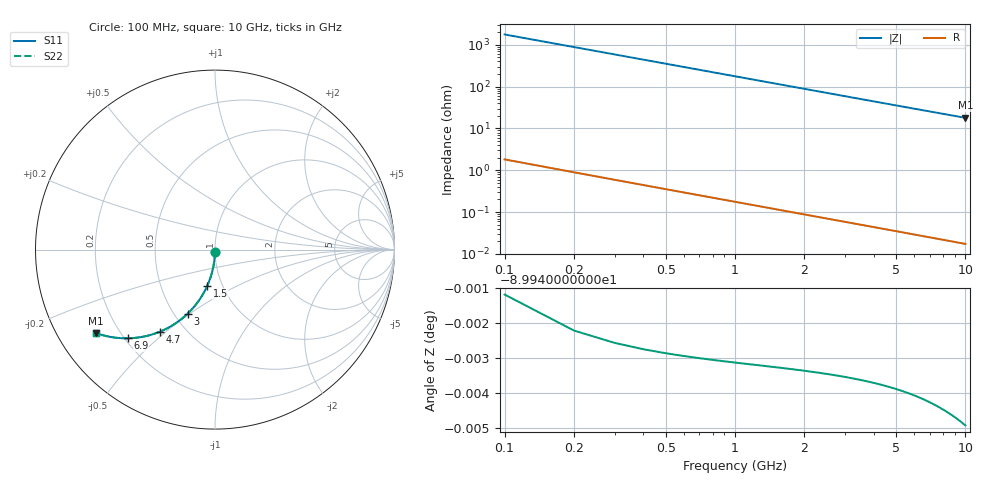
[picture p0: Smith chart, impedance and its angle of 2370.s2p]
# Hz S RI R 50.00
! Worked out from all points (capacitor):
!   100 points, 100 MHz to 10 GHz, reference 50 ohm
!   read as one part in shunt: C = 898 fF near 100 MHz
!   lowest |Z| = 18 ohm at 10 GHz (marker M1)
!   S11 on the Smith chart (normalised r, x): 100 MHz: 1.00, -0.03; 1.5 GHz: 0.85, -0.36; 3 GHz: 0.58, -0.49; 4.7 GHz: 0.37, -0.48; 6.9 GHz: 0.21, -0.40; 10 GHz: 0.12, -0.31
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1e8  -0.00019 -0.014  0.9998 -0.0142  0.9998 -0.0142  -0.00019 -0.014
2e8  -0.000801 -0.028  0.9992 -0.0283  0.9992 -0.0283  -0.000801 -0.028
3e8  -0.00181 -0.042  0.9981 -0.0425  0.9981 -0.0425  -0.00181 -0.042
4e8  -0.00321 -0.0559  0.9967 -0.0565  0.9967 -0.0565  -0.00321 -0.0559
5e8  -0.005 -0.0698  0.995 -0.0705  0.995 -0.0705  -0.005 -0.0698
6e8  -0.00717 -0.0836  0.9928 -0.0845  0.9928 -0.0845  -0.00717 -0.0836
7e8  -0.00973 -0.0973  0.9902 -0.0983  0.9902 -0.0983  -0.00973 -0.0973
9e8  -0.016 -0.1242  0.984 -0.1255  0.984 -0.1255  -0.016 -0.1242
1.2e9  -0.028 -0.1636  0.972 -0.1653  0.972 -0.1653  -0.028 -0.1636
1.5e9  -0.043 -0.2013  0.957 -0.2035  0.957 -0.2035  -0.043 -0.2013
1.8e9  -0.0607 -0.237  0.9393 -0.2396  0.9393 -0.2396  -0.0607 -0.237
2.4e9  -0.1029 -0.3016  0.8971 -0.3051  0.8971 -0.3051  -0.1029 -0.3016
3e9  -0.1518 -0.3562  0.8481 -0.3606  0.8481 -0.3606  -0.1518 -0.3562
3.4e9  -0.1868 -0.3868  0.8131 -0.3918  0.8131 -0.3918  -0.1868 -0.3868
4e9  -0.2411 -0.4243  0.7589 -0.4302  0.7589 -0.4302  -0.2411 -0.4243
4.7e9  -0.3046 -0.4563  0.6953 -0.4632  0.6953 -0.4632  -0.3046 -0.4563
5.1e9  -0.3402 -0.4695  0.6597 -0.477  0.6597 -0.477  -0.3402 -0.4695
5.9e9  -0.4081 -0.4866  0.5919 -0.4953  0.5919 -0.4953  -0.4081 -0.4866
6.7e9  -0.4704 -0.4937  0.5295 -0.5036  0.5295 -0.5036  -0.4704 -0.4937
6.9e9  -0.485 -0.4942  0.5149 -0.5044  0.5149 -0.5044  -0.485 -0.4942
8.4e9  -0.5823 -0.4864  0.4176 -0.4989  0.4176 -0.4989  -0.5823 -0.4864
1e10  -0.6638 -0.4644  0.3361 -0.4794  0.3361 -0.4794  -0.6638 -0.4644
